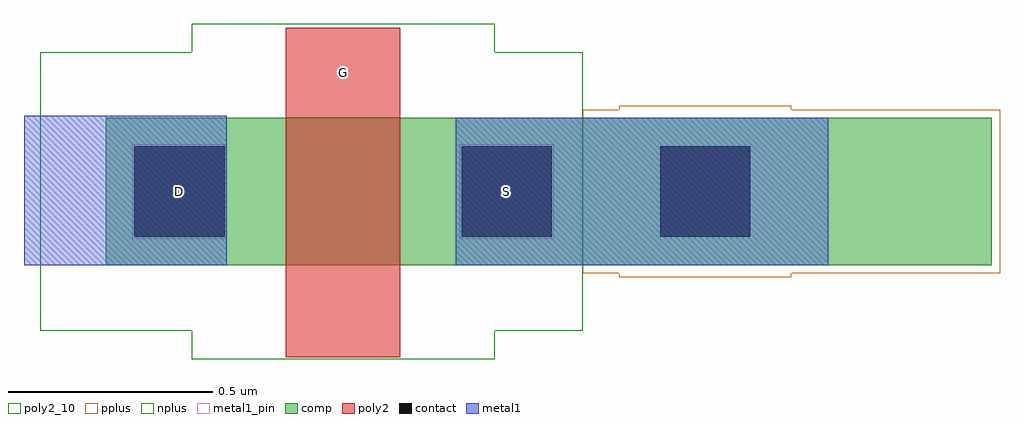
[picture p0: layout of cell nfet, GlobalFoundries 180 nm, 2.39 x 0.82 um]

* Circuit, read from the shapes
.subckt nfet D G S
XM1 S G D S nfet_03v3 w=0.36u l=0.28u
.ends

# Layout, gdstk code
import gdstk
lib = gdstk.Library(unit=1e-6, precision=1e-09)
def R(c, l, rs):  # rectangles x0, y0, x1, y1
    for r in rs: c.add(gdstk.rectangle(r[:2], r[2:], *l))
comp = (22, 0)
poly2 = (30, 0)
poly2_10 = (30, 10)
pplus = (31, 0)
nplus = (32, 0)
contact = (33, 0)
metal1 = (34, 0)
metal1_pin = (34, 10)

nfet = lib.new_cell('nfet')
R(nfet, comp, [(0,0,2.165,0.36)])
R(nfet, poly2, [(0.44,-0.225,0.72,0.58)])
R(nfet, poly2_10, [(0.44,0.36,0.72,0.58)])
R(nfet, pplus, [(1.255,-0.03,1.675,-0.02), (1.165,-0.02,2.185,0.38), (1.255,0.38,1.675,0.39)])
R(nfet, nplus, [(0.21,-0.23,0.95,-0.16), (-0.16,-0.16,1.165,0.52), (0.21,0.52,0.95,0.59)])
R(nfet, contact, [(0.07,0.07,0.29,0.29), (0.87,0.07,1.09,0.29), (1.355,0.07,1.575,0.29)])
R(nfet, metal1, [(-0.2,0,0.295,0.365), (0.855,0,1.765,0.36)])
R(nfet, metal1_pin, [(0.065,0.065,0.295,0.295), (0.865,0.065,1.095,0.295)])
nfet.add(gdstk.Label('G', (0.58,0.47), layer=30, texttype=10))
nfet.add(gdstk.Label('S', (0.98,0.18), layer=22, texttype=0))
nfet.add(gdstk.Label('D', (0.18,0.18), layer=22, texttype=0))

lib.write_gds('nfet.gds')
